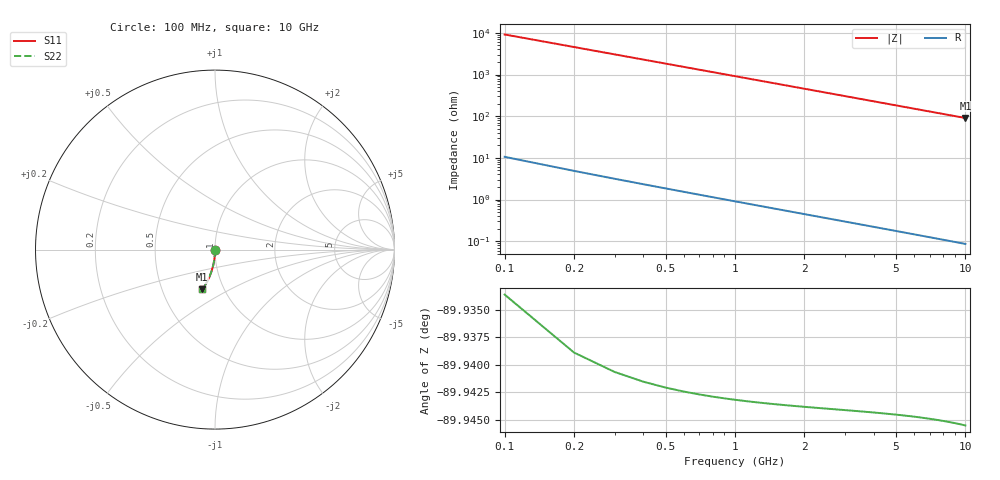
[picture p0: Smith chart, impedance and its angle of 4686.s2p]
# Hz S RI R 50.00
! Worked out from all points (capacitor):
!   100 points, 100 MHz to 10 GHz, reference 50 ohm
!   read as one part in shunt: C = 174 fF near 100 MHz
!   lowest |Z| = 90.7 ohm at 10 GHz (marker M1)
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1e8  9.46e-05 -0.00238  0.9999 -0.00308  0.9999 -0.00308  9.46e-05 -0.00238
2e8  7.06e-05 -0.00475  0.9999 -0.00616  0.9999 -0.00616  7.06e-05 -0.00475
3e8  3.19e-05 -0.00713  0.9998 -0.00924  0.9998 -0.00924  3.19e-05 -0.00713
4e8  -2.16e-05 -0.0095  0.9998 -0.0123  0.9998 -0.0123  -2.16e-05 -0.0095
5e8  -8.98e-05 -0.0119  0.9997 -0.0154  0.9997 -0.0154  -8.98e-05 -0.0119
6e8  -0.000173 -0.0143  0.9996 -0.0185  0.9996 -0.0185  -0.000173 -0.0143
7e8  -0.00027 -0.0166  0.9995 -0.0216  0.9995 -0.0216  -0.00027 -0.0166
8e8  -0.000383 -0.019  0.9994 -0.0247  0.9994 -0.0247  -0.000383 -0.019
9e8  -0.00051 -0.0214  0.9993 -0.0277  0.9993 -0.0277  -0.00051 -0.0214
1.1e9  -0.000808 -0.0261  0.9989 -0.0339  0.9989 -0.0339  -0.000808 -0.0261
1.4e9  -0.00136 -0.0333  0.9984 -0.0431  0.9984 -0.0431  -0.00136 -0.0333
1.8e9  -0.00231 -0.0427  0.9974 -0.0554  0.9974 -0.0554  -0.00231 -0.0427
2.1e9  -0.00318 -0.0498  0.9965 -0.0647  0.9965 -0.0647  -0.00318 -0.0498
2.5e9  -0.00454 -0.0593  0.9951 -0.0769  0.9951 -0.0769  -0.00454 -0.0593
2.9e9  -0.00613 -0.0687  0.9934 -0.0892  0.9934 -0.0892  -0.00613 -0.0687
3.4e9  -0.00845 -0.0804  0.991 -0.1044  0.991 -0.1044  -0.00845 -0.0804
4.2e9  -0.0129 -0.0989  0.9864 -0.1287  0.9864 -0.1287  -0.0129 -0.0989
5.1e9  -0.019 -0.1195  0.9801 -0.1557  0.9801 -0.1557  -0.019 -0.1195
5.9e9  -0.0254 -0.1375  0.9735 -0.1794  0.9735 -0.1794  -0.0254 -0.1375
6.7e9  -0.0326 -0.155  0.966 -0.2028  0.966 -0.2028  -0.0326 -0.155
8.4e9  -0.0507 -0.1908  0.9473 -0.2509  0.9473 -0.2509  -0.0507 -0.1908
1e10  -0.0707 -0.2223  0.9264 -0.2942  0.9264 -0.2942  -0.0707 -0.2223
